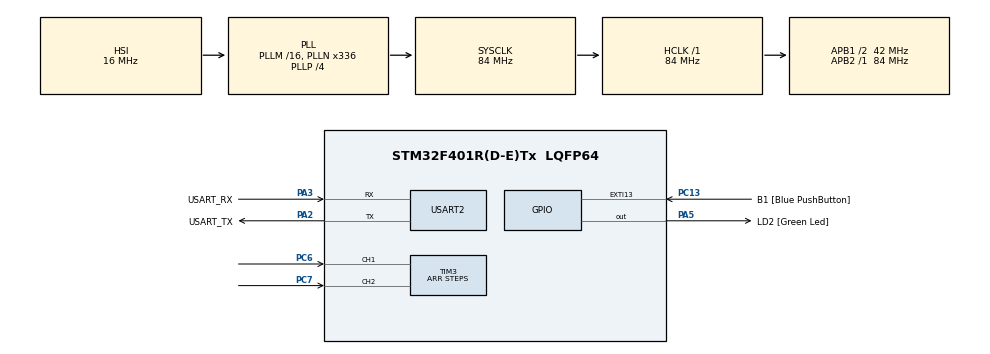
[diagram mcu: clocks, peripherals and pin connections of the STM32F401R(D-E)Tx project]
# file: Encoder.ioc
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Dma.Request0=USART2_TX
Dma.USART2_TX.0.Direction=DMA_MEMORY_TO_PERIPH
Dma.USART2_TX.0.FIFOMode=DMA_FIFOMODE_DISABLE
Dma.USART2_TX.0.Instance=DMA1_Stream6
Dma.USART2_TX.0.MemDataAlignment=DMA_MDATAALIGN_BYTE
Dma.USART2_TX.0.MemInc=DMA_MINC_ENABLE
Dma.USART2_TX.0.Mode=DMA_NORMAL
Dma.USART2_TX.0.PeriphDataAlignment=DMA_PDATAALIGN_BYTE
Dma.USART2_TX.0.PeriphInc=DMA_PINC_DISABLE
Dma.USART2_TX.0.Priority=DMA_PRIORITY_LOW
Mcu.Family=STM32F4
Mcu.Name=STM32F401R(D-E)Tx
Mcu.Package=LQFP64
NVIC.DMA1_Stream6_IRQn=true\:0\:0\:false\:false\:true\:false\:true\:true
NVIC.PriorityGroup=NVIC_PRIORITYGROUP_0
NVIC.TIM2_IRQn=true\:0\:0\:false\:false\:true\:true\:true\:true
NVIC.TIM3_IRQn=true\:0\:0\:false\:false\:true\:true\:true\:true
NVIC.USART2_IRQn=true\:0\:0\:false\:false\:true\:true\:true\:true
PA13.GPIO_Label=TMS
PA13.Mode=Serial_Wire
PA13.Signal=SYS_JTMS-SWDIO
PA14.GPIO_Label=TCK
PA14.Mode=Serial_Wire
PA14.Signal=SYS_JTCK-SWCLK
PA2.GPIO_Label=USART_TX
PA2.GPIO_Mode=GPIO_MODE_AF_PP
PA2.GPIO_PuPd=GPIO_NOPULL
PA2.GPIO_Speed=GPIO_SPEED_FREQ_LOW
PA2.Mode=Asynchronous
PA2.Signal=USART2_TX
PA3.GPIO_Label=USART_RX
PA3.GPIO_Mode=GPIO_MODE_AF_PP
PA3.GPIO_PuPd=GPIO_NOPULL
PA3.GPIO_Speed=GPIO_SPEED_FREQ_LOW
PA3.Mode=Asynchronous
PA3.Signal=USART2_RX
PA5.GPIO_Label=LD2 [Green Led]
PA5.GPIO_Mode=GPIO_MODE_OUTPUT_PP
PA5.GPIO_PuPd=GPIO_NOPULL
PA5.GPIO_Speed=GPIO_SPEED_FREQ_LOW
PA5.Signal=GPIO_Output
PB3.GPIO_Label=SWO
PB3.Signal=SYS_JTDO-SWO
PC13-ANTI_TAMP.GPIO_Label=B1 [Blue PushButton]
PC13-ANTI_TAMP.GPIO_ModeDefaultEXTI=GPIO_MODE_IT_FALLING
PC13-ANTI_TAMP.GPIO_PuPd=GPIO_NOPULL
PC13-ANTI_TAMP.Signal=GPXTI13
PC14-OSC32_IN.Mode=LSE-External-Oscillator
PC14-OSC32_IN.Signal=RCC_OSC32_IN
PC15-OSC32_OUT.Mode=LSE-External-Oscillator
PC15-OSC32_OUT.Signal=RCC_OSC32_OUT
PC6.Signal=S_TIM3_CH1
PC7.Signal=S_TIM3_CH2
PH0\ -\ OSC_IN.Mode=HSE-External-Clock-Source
PH0\ -\ OSC_IN.Signal=RCC_OSC_IN
PH1\ -\ OSC_OUT.Mode=HSE-External-Clock-Source
PH1\ -\ OSC_OUT.Signal=RCC_OSC_OUT
ProjectManager.HeapSize=0x200
ProjectManager.StackSize=0x400
ProjectManager.TargetToolchain=STM32CubeIDE
RCC.48MHZClocksFreq_Value=48000000
RCC.AHBFreq_Value=84000000
RCC.APB1CLKDivider=RCC_HCLK_DIV2
RCC.APB1Freq_Value=42000000
RCC.APB1TimFreq_Value=84000000
RCC.APB2Freq_Value=84000000
RCC.APB2TimFreq_Value=84000000
RCC.CortexFreq_Value=84000000
RCC.HCLKFreq_Value=84000000
RCC.HSE_VALUE=8000000
RCC.HSI_VALUE=16000000
RCC.PLLN=336
RCC.PLLP=RCC_PLLP_DIV4
RCC.PLLQ=7
RCC.SYSCLKFreq_VALUE=84000000
RCC.SYSCLKSource=RCC_SYSCLKSOURCE_PLLCLK
RCC.VCOOutputFreq_Value=336000000
SH.S_TIM3_CH1.0=TIM3_CH1,Encoder_Interface
SH.S_TIM3_CH2.0=TIM3_CH2,Encoder_Interface
TIM2.Period=(TEMPO*10)-1
TIM2.Prescaler=8400 - 1
TIM3.ClockDivision=TIM_CLOCKDIVISION_DIV4
TIM3.IC1Filter=15
TIM3.IC1Polarity=TIM_ICPOLARITY_FALLING
TIM3.IC2Filter=15
TIM3.Period=STEPS
USART2.VirtualMode=VM_ASYNC
VP_TIM2_VS_ClockSourceINT.Mode=Internal
board=NUCLEO-F401RE

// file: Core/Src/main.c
/* USER CODE BEGIN Header */
/**
  ******************************************************************************
  * @file           : main.c
  * @brief          : Main program body
  ******************************************************************************
  * @attention
  *
  * Copyright (c) 2024 STMicroelectronics.
  * All rights reserved.
  *
  * This software is licensed under terms that can be found in the LICENSE file
  * in the root directory of this software component.
  * If no LICENSE file comes with this software, it is provided AS-IS.
  *
  ******************************************************************************
  */
/* USER CODE END Header */
#include "main.h"

/* USER CODE BEGIN PD */
#define TEMPO 1000
#define STEPS 65535 //Timer3 counter period
/* USER CODE END PD */

TIM_HandleTypeDef htim2;
TIM_HandleTypeDef htim3;

UART_HandleTypeDef huart2;
DMA_HandleTypeDef hdma_usart2_tx;

/* USER CODE BEGIN PV */
uint16_t new_position = 0; //The newest acquired encoder position value
uint16_t old_position = 0; //Old acquired encoder position value

float    rpm = 0;		   //Final result of encoder velocity in rotations per minute

char    string[64]    = {0}; //String that has to be sent via UART
uint8_t string_length = 0;

/* USER CODE END PV */

void SystemClock_Config(void);
static void MX_GPIO_Init(void);
static void MX_DMA_Init(void);
static void MX_USART2_UART_Init(void);
static void MX_TIM3_Init(void);
static void MX_TIM2_Init(void);

/* USER CODE BEGIN 0 */
void HAL_TIM_PeriodElapsedCallback(TIM_HandleTypeDef *htim)
{
	if(htim == &htim2)
	{
		old_position = new_position; 							 //Save last position into the "old" variable

		new_position = (uint16_t) __HAL_TIM_GET_COUNTER(&htim3); //Get the new position

		if (new_position < old_position - (STEPS + 1)/2)		 //If overflow is detected
		{
			rpm = ((new_position - old_position + (STEPS + 1)) * 60) / 24.0;
		}
		else if (new_position > old_position + (STEPS + 1)/2)	 //If underflow is detected
		{
			rpm = ((new_position - old_position - (STEPS + 1)) * 60 ) / 24.0;
		}
		else 													 //No overflow neither underflow detected
		{
			rpm = ((new_position - old_position) * 60) / 24.0;
		}

		string_length = snprintf(string, sizeof(string), "rpm: %.1f \n", rpm);

		HAL_UART_Transmit_DMA(&huart2, string, string_length);	//Send the string via UART to PC;
	}
}
/* USER CODE END 0 */

int main(void)
{

  /* MCU Configuration--------------------------------------------------------*/

  /* Reset of all peripherals, Initializes the Flash interface and the Systick. */
  HAL_Init();

  /* Configure the system clock */
  SystemClock_Config();

  /* Initialize all configured peripherals */
  MX_GPIO_Init();
  MX_DMA_Init();
  MX_USART2_UART_Init();
  MX_TIM3_Init();
  MX_TIM2_Init();
  /* USER CODE BEGIN 2 */
  HAL_TIM_Base_Start_IT(&htim2);
  HAL_TIM_Base_Start_IT(&htim3);

  HAL_TIM_Encoder_Start(&htim3, TIM_CHANNEL_ALL);

  /* USER CODE END 2 */

  /* Infinite loop */
  while (1)
  {

  }
}

void SystemClock_Config(void)
{
  RCC_OscInitTypeDef RCC_OscInitStruct = {0};
  RCC_ClkInitTypeDef RCC_ClkInitStruct = {0};

  /** Configure the main internal regulator output voltage
  */
  __HAL_RCC_PWR_CLK_ENABLE();
  __HAL_PWR_VOLTAGESCALING_CONFIG(PWR_REGULATOR_VOLTAGE_SCALE2);

  /** Initializes the RCC Oscillators according to the specified parameters
  * in the RCC_OscInitTypeDef structure.
  */
  RCC_OscInitStruct.OscillatorType = RCC_OSCILLATORTYPE_HSI;
  RCC_OscInitStruct.HSIState = RCC_HSI_ON;
  RCC_OscInitStruct.HSICalibrationValue = RCC_HSICALIBRATION_DEFAULT;
  RCC_OscInitStruct.PLL.PLLState = RCC_PLL_ON;
  RCC_OscInitStruct.PLL.PLLSource = RCC_PLLSOURCE_HSI;
  RCC_OscInitStruct.PLL.PLLM = 16;
  RCC_OscInitStruct.PLL.PLLN = 336;
  RCC_OscInitStruct.PLL.PLLP = RCC_PLLP_DIV4;
  RCC_OscInitStruct.PLL.PLLQ = 7;
  if (HAL_RCC_OscConfig(&RCC_OscInitStruct) != HAL_OK)
  {
    Error_Handler();
  }

  /** Initializes the CPU, AHB and APB buses clocks
  */
  RCC_ClkInitStruct.ClockType = RCC_CLOCKTYPE_HCLK|RCC_CLOCKTYPE_SYSCLK
                              |RCC_CLOCKTYPE_PCLK1|RCC_CLOCKTYPE_PCLK2;
  RCC_ClkInitStruct.SYSCLKSource = RCC_SYSCLKSOURCE_PLLCLK;
  RCC_ClkInitStruct.AHBCLKDivider = RCC_SYSCLK_DIV1;
  RCC_ClkInitStruct.APB1CLKDivider = RCC_HCLK_DIV2;
  RCC_ClkInitStruct.APB2CLKDivider = RCC_HCLK_DIV1;

  if (HAL_RCC_ClockConfig(&RCC_ClkInitStruct, FLASH_LATENCY_2) != HAL_OK)
  {
    Error_Handler();
  }
}

static void MX_TIM2_Init(void)
{

  TIM_ClockConfigTypeDef sClockSourceConfig = {0};
  TIM_MasterConfigTypeDef sMasterConfig = {0};

  htim2.Instance = TIM2;
  htim2.Init.Prescaler = 8400 - 1;
  htim2.Init.CounterMode = TIM_COUNTERMODE_UP;
  htim2.Init.Period = (TEMPO*10)-1;
  htim2.Init.ClockDivision = TIM_CLOCKDIVISION_DIV1;
  htim2.Init.AutoReloadPreload = TIM_AUTORELOAD_PRELOAD_DISABLE;
  if (HAL_TIM_Base_Init(&htim2) != HAL_OK)
  {
    Error_Handler();
  }
  sClockSourceConfig.ClockSource = TIM_CLOCKSOURCE_INTERNAL;
  if (HAL_TIM_ConfigClockSource(&htim2, &sClockSourceConfig) != HAL_OK)
  {
    Error_Handler();
  }
  sMasterConfig.MasterOutputTrigger = TIM_TRGO_RESET;
  sMasterConfig.MasterSlaveMode = TIM_MASTERSLAVEMODE_DISABLE;
  if (HAL_TIMEx_MasterConfigSynchronization(&htim2, &sMasterConfig) != HAL_OK)
  {
    Error_Handler();
  }

}

static void MX_TIM3_Init(void)
{

  TIM_Encoder_InitTypeDef sConfig = {0};
  TIM_MasterConfigTypeDef sMasterConfig = {0};

  htim3.Instance = TIM3;
  htim3.Init.Prescaler = 0;
  htim3.Init.CounterMode = TIM_COUNTERMODE_UP;
  htim3.Init.Period = STEPS;
  htim3.Init.ClockDivision = TIM_CLOCKDIVISION_DIV4;
  htim3.Init.AutoReloadPreload = TIM_AUTORELOAD_PRELOAD_DISABLE;
  sConfig.EncoderMode = TIM_ENCODERMODE_TI1;
  sConfig.IC1Polarity = TIM_ICPOLARITY_FALLING;
  sConfig.IC1Selection = TIM_ICSELECTION_DIRECTTI;
  sConfig.IC1Prescaler = TIM_ICPSC_DIV1;
  sConfig.IC1Filter = 15;
  sConfig.IC2Polarity = TIM_ICPOLARITY_RISING;
  sConfig.IC2Selection = TIM_ICSELECTION_DIRECTTI;
  sConfig.IC2Prescaler = TIM_ICPSC_DIV1;
  sConfig.IC2Filter = 15;
  if (HAL_TIM_Encoder_Init(&htim3, &sConfig) != HAL_OK)
  {
    Error_Handler();
  }
  sMasterConfig.MasterOutputTrigger = TIM_TRGO_RESET;
  sMasterConfig.MasterSlaveMode = TIM_MASTERSLAVEMODE_DISABLE;
  if (HAL_TIMEx_MasterConfigSynchronization(&htim3, &sMasterConfig) != HAL_OK)
  {
    Error_Handler();
  }

}

static void MX_USART2_UART_Init(void)
{

  huart2.Instance = USART2;
  huart2.Init.BaudRate = 115200;
  huart2.Init.WordLength = UART_WORDLENGTH_8B;
  huart2.Init.StopBits = UART_STOPBITS_1;
  huart2.Init.Parity = UART_PARITY_NONE;
  huart2.Init.Mode = UART_MODE_TX_RX;
  huart2.Init.HwFlowCtl = UART_HWCONTROL_NONE;
  huart2.Init.OverSampling = UART_OVERSAMPLING_16;
  if (HAL_UART_Init(&huart2) != HAL_OK)
  {
    Error_Handler();
  }

}

static void MX_DMA_Init(void)
{

  /* DMA controller clock enable */
  __HAL_RCC_DMA1_CLK_ENABLE();

  /* DMA interrupt init */
  /* DMA1_Stream6_IRQn interrupt configuration */
  HAL_NVIC_SetPriority(DMA1_Stream6_IRQn, 0, 0);
  HAL_NVIC_EnableIRQ(DMA1_Stream6_IRQn);

}

static void MX_GPIO_Init(void)
{
  GPIO_InitTypeDef GPIO_InitStruct = {0};

  /* GPIO Ports Clock Enable */
  __HAL_RCC_GPIOC_CLK_ENABLE();
  __HAL_RCC_GPIOH_CLK_ENABLE();
  __HAL_RCC_GPIOA_CLK_ENABLE();
  __HAL_RCC_GPIOB_CLK_ENABLE();

  /*Configure GPIO pin Output Level */
  HAL_GPIO_WritePin(LD2_GPIO_Port, LD2_Pin, GPIO_PIN_RESET);

  /*Configure GPIO pin : B1_Pin */
  GPIO_InitStruct.Pin = B1_Pin;
  GPIO_InitStruct.Mode = GPIO_MODE_IT_FALLING;
  GPIO_InitStruct.Pull = GPIO_NOPULL;
  HAL_GPIO_Init(B1_GPIO_Port, &GPIO_InitStruct);

  /*Configure GPIO pin : LD2_Pin */
  GPIO_InitStruct.Pin = LD2_Pin;
  GPIO_InitStruct.Mode = GPIO_MODE_OUTPUT_PP;
  GPIO_InitStruct.Pull = GPIO_NOPULL;
  GPIO_InitStruct.Speed = GPIO_SPEED_FREQ_LOW;
  HAL_GPIO_Init(LD2_GPIO_Port, &GPIO_InitStruct);

}

void Error_Handler(void)
{
  __disable_irq();
  while (1)
  {
  }
}
